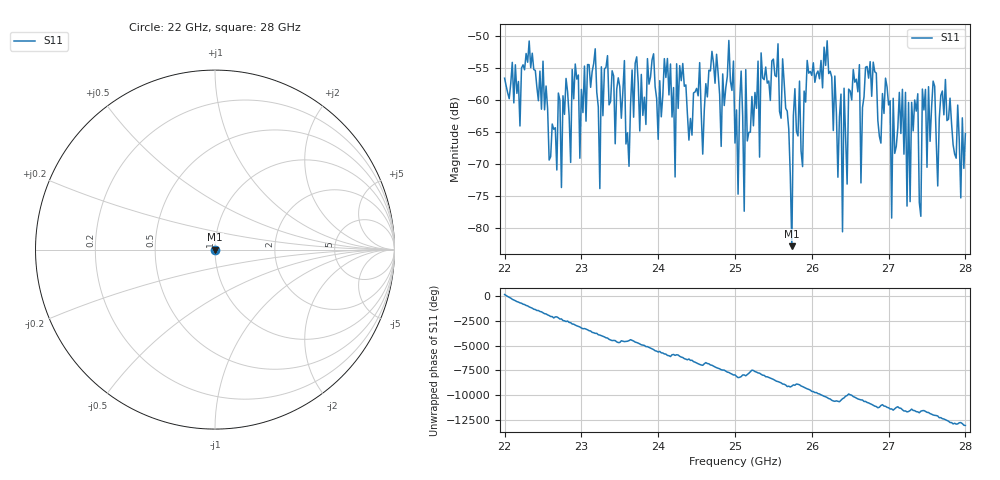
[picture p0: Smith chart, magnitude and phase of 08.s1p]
#  HZ  S  RI  R  50.00
! Rohde & Schwarz ZVA40 4Ports - Version 3.90 - 1145.1110k42 SN: 100403
! Date: 2023-10-04 11:46:02
! Measurement: S12
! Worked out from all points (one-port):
!   301 points, 22 GHz to 28 GHz, reference 50 ohm
!   lowest |S11| = -82.9 dB at 25.74 GHz (marker M1), VSWR 1.00, Z = 50 - j0.00715 ohm
!   |S11| at or under -10 dB: start of sweep to end of sweep
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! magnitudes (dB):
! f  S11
! 22 GHz  -56.6
! 22.76 GHz  -59.4
! 23.18 GHz  -52.0
! 23.24 GHz  -73.9
! 23.26 GHz  -54.8
! 23.5 GHz  -57.9
! 24.26 GHz  -61.3
! 24.92 GHz  -50.7
! 25 GHz  -66.7
! 25.56 GHz  -51.2
! 25.74 GHz  -82.9
! 25.76 GHz  -62.5
! 26.2 GHz  -50.8
! 26.38 GHz  -59.1
! 26.4 GHz  -80.6
! 26.42 GHz  -58.2
! 26.5 GHz  -58.6
! 26.62 GHz  -54.5
! 26.64 GHz  -73.0
! 26.96 GHz  -56.6
! 27.04 GHz  -78.5
! 27.06 GHz  -59.8
! 27.22 GHz  -58.8
! 27.24 GHz  -76.6
! 27.26 GHz  -60.4
! 27.42 GHz  -78.2
! 27.44 GHz  -58.3
! 28 GHz  -65.3
